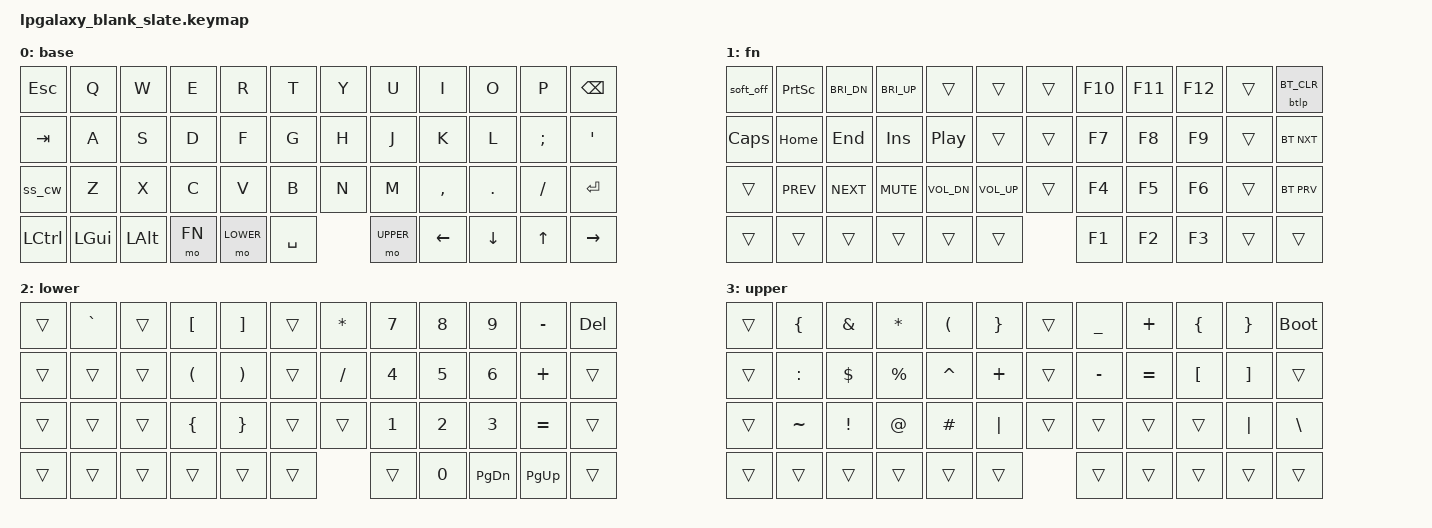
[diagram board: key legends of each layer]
/*
 * Copyright (c) 2022 Pete Johanson
 *
 * SPDX-License-Identifier: MIT
 */

#include <behaviors.dtsi>
#include <dt-bindings/zmk/keys.h>
#include <dt-bindings/zmk/bt.h>

#include "zmk-helpers/helper.h"

#define ___ &trans

#define  BASE 0
#define    FN 1
#define LOWER 2
#define UPPER 3

/* custom behaviours */
// Only turn off it the key is held for 3 seconds or longer.
&soft_off {
    hold-time-ms = <3000>;
};

// tap: sticky shift | double tap: capswords
ZMK_BEHAVIOR(ss_cw, tap_dance,
    tapping-term-ms = <200>;
    bindings = <&sk LSHFT>, <&caps_word>;
)

ZMK_BEHAVIOR(btlp, hold_tap,
    tapping-term-ms = <3000>;
    flavor = "tap-preferred";
    bindings = <&bt>, <&none>;
)

// // combos
// #undef COMBO_TERM
// #define COMBO_TERM 40  // timeout of 40ms (default is 30ms if omitted)
// ZMK_COMBO(combo_copy,   &kp LC(C),  LB2 LB3, ALL)  // Ctrl + C, active on all layers
// ZMK_COMBO(combo_paste,  &kp LC(V),  LB1 LB2, ALL)  // Ctrl + V, active on all layers

/* keymap */
/ {
    chosen {
        zmk,physical-layout = &layout_ortho_4x12_1x2u;
    };
};

ZMK_LAYER(base,
//  ╭────────────┬────────────┬────────────┬────────────┬────────────┬────────────┬────────────┬────────────┬────────────┬────────────┬────────────┬────────────╮
      &kp ESC        &kp Q        &kp W        &kp E         &kp R        &kp T       &kp Y        &kp U        &kp I        &kp O        &kp P       &kp BKSP
//  ├────────────┼────────────┼────────────┼────────────┼────────────┤────────────┼────────────┼────────────┼────────────┼────────────┼────────────┼────────────┤
      &kp TAB        &kp A        &kp S        &kp D         &kp F        &kp G       &kp H        &kp J        &kp K        &kp L       &kp SEMI     &kp QUOT
//  ├────────────┼────────────┼────────────┼────────────┼────────────┼────────────┼────────────┼────────────┼────────────┼────────────┼────────────┼────────────┤
       &ss_cw        &kp Z        &kp X        &kp C         &kp V        &kp B       &kp N        &kp M       &kp COMMA     &kp DOT     &kp FSLH      &kp RET
//  ├────────────┼────────────┼────────────┼────────────┼────────────┼────────────┴────────────┼────────────┼────────────┼────────────┼────────────┼────────────┤
      &kp LCTRL     &kp LGUI     &kp LALT      &mo FN      &mo LOWER           &kp SPACE         &mo UPPER     &kp LEFT     &kp DOWN      &kp UP      &kp RIGHT
//  ╰────────────┴────────────┴────────────┴────────────┴────────────┴─────────────────────────┴────────────┴────────────┴────────────┴────────────┴────────────╯
)

ZMK_LAYER(fn,
//  ╭────────────┬────────────┬────────────┬────────────┬────────────┬────────────┬────────────┬────────────┬────────────┬────────────┬────────────┬────────────╮
       &soft_off    &kp PSCRN  &kp C_BRI_DN &kp C_BRI_UP     ___           ___         ___         &kp F10      &kp F11      &kp F12       ___      &btlp BT_CLR
//  ├────────────┼────────────┼────────────┼────────────┼────────────┤────────────┼────────────┼────────────┼────────────┼────────────┼────────────┼────────────┤
       &kp CAPS     &kp HOME     &kp END       &kp INS     &kp C_PP        ___         ___         &kp F7       &kp F8       &kp F9        ___       &bt BT_NXT
//  ├────────────┼────────────┼────────────┼────────────┼────────────┼────────────┼────────────┼────────────┼────────────┼────────────┼────────────┼────────────┤
         ___       &kp C_PREV   &kp C_NEXT   &kp C_MUTE  &kp C_VOL_DN &kp C_VOL_UP     ___         &kp F4       &kp F5       &kp F6        ___       &bt BT_PRV
//  ├────────────┼────────────┼────────────┼────────────┼────────────┼────────────┴────────────┼────────────┼────────────┼────────────┼────────────┼────────────┤
         ___          ___          ___          ___          ___                 ___               &kp F1       &kp F2       &kp F3        ___          ___
//  ╰────────────┴────────────┴────────────┴────────────┴────────────┴─────────────────────────┴────────────┴────────────┴────────────┴────────────┴────────────╯
)

ZMK_LAYER(lower,
//  ╭────────────┬────────────┬────────────┬────────────┬────────────┬────────────┬────────────┬────────────┬────────────┬────────────┬────────────┬────────────╮
         ___       &kp GRAVE       ___        &kp LBKT     &kp RBKT        ___       &kp STAR      &kp N7       &kp N8       &kp N9      &kp MINUS     &kp DEL
//  ├────────────┼────────────┼────────────┼────────────┼────────────┤────────────┼────────────┼────────────┼────────────┼────────────┼────────────┼────────────┤
         ___          ___          ___        &kp LPAR     &kp RPAR        ___       &kp FSLH      &kp N4       &kp N5       &kp N6      &kp PLUS       ___
//  ├────────────┼────────────┼────────────┼────────────┼────────────┼────────────┼────────────┼────────────┼────────────┼────────────┼────────────┼────────────┤
         ___          ___          ___        &kp LBRC     &kp RBRC        ___         ___         &kp N1       &kp N2       &kp N3      &kp EQUAL      ___
//  ├────────────┼────────────┼────────────┼────────────┼────────────┼────────────┴────────────┼────────────┼────────────┼────────────┼────────────┼────────────┤
         ___          ___          ___          ___          ___                 ___                 ___        &kp N0     &kp PG_DN     &kp PG_UP      ___
//  ╰────────────┴────────────┴────────────┴────────────┴────────────┴─────────────────────────┴────────────┴────────────┴────────────┴────────────┴────────────╯
)

ZMK_LAYER(upper,
//  ╭────────────┬────────────┬────────────┬────────────┬────────────┬────────────┬────────────┬────────────┬────────────┬────────────┬────────────┬────────────╮
         ___        &kp LBRC     &kp AMPS    &kp STAR      &kp LPAR     &kp RBRC        ___       &kp UNDER    &kp PLUS     &kp LBRC    &kp RBRC     &bootloader
//  ├────────────┼────────────┼────────────┼────────────┼────────────┤────────────┼────────────┼────────────┼────────────┼────────────┼────────────┼────────────┤
         ___        &kp COLON    &kp DLLR    &kp PRCNT     &kp CARET    &kp PLUS        ___       &kp MINUS    &kp EQUAL    &kp LBKT    &kp RBKT      ___
//  ├────────────┼────────────┼────────────┼────────────┼────────────┼────────────┼────────────┼────────────┼────────────┼────────────┼────────────┼────────────┤
         ___        &kp TILDE    &kp EXCL     &kp AT       &kp HASH     &kp PIPE        ___           ___          ___         ___      &kp PIPE     &kp BSLH
//  ├────────────┼────────────┼────────────┼────────────┼────────────┼────────────┴────────────┼────────────┼────────────┼────────────┼────────────┼────────────┤
         ___          ___          ___          ___          ___                 ___                 ___          ___         ___          ___          ___
//  ╰────────────┴────────────┴────────────┴────────────┴────────────┴─────────────────────────┴────────────┴────────────┴────────────┴────────────┴────────────╯
)
